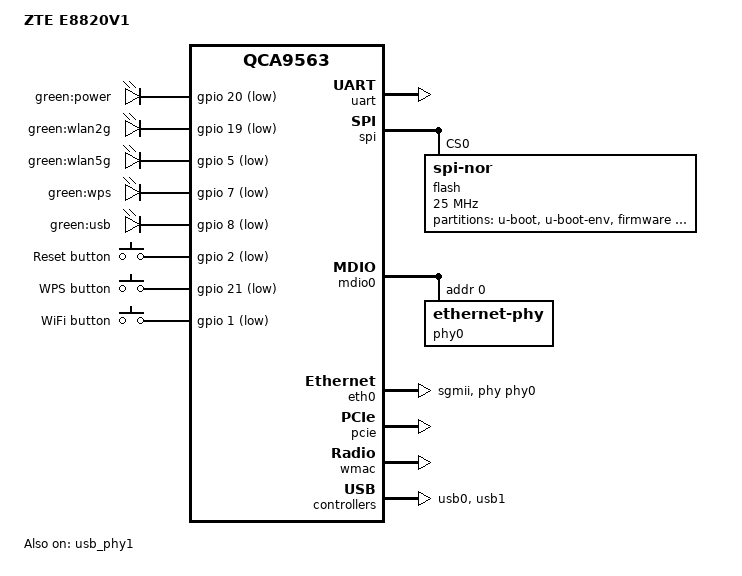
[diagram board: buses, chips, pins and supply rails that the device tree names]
// SPDX-License-Identifier: GPL-2.0-or-later OR MIT
/dts-v1/;

#include <dt-bindings/gpio/gpio.h>
#include <dt-bindings/input/input.h>

#include "qca956x.dtsi"

/ {
	model = "ZTE E8820V1";
	compatible = "zte,e8820v1", "qca,qca9563";

	aliases {
		led-boot = &power;
		led-failsafe = &power;
		led-running = &power;
		led-upgrade = &power;
	};

	leds {
		compatible = "gpio-leds";

		power: power {
			label = "green:power";
			gpios = <&gpio 20 GPIO_ACTIVE_LOW>;
			default-state = "on";
		};

		wlan2g {
			label = "green:wlan2g";
			gpios = <&gpio 19 GPIO_ACTIVE_LOW>;
			linux,default-trigger = "phy1tpt";
		};
		
		wlan5g {
			label = "green:wlan5g";
			gpios = <&gpio 5 GPIO_ACTIVE_LOW>;
			linux,default-trigger = "phy0tpt";
		};
		
		wps {
			label = "green:wps";
			gpios = <&gpio 7 GPIO_ACTIVE_LOW>;
		};
		
		usb {
			label = "green:usb";
			gpios = <&gpio 8 GPIO_ACTIVE_LOW>;
			trigger-sources = <&hub_port0>,<&hub_port1>;
			linux,default-trigger = "usbport";
		};
	};

	keys {
		compatible = "gpio-keys";

		reset {
			label = "Reset button";
			linux,code = <KEY_RESTART>;
			gpios = <&gpio 2 GPIO_ACTIVE_LOW>;
			debounce-interval = <60>;
		};
		
		wps {
			label = "WPS button";
			linux,code = <KEY_WPS_BUTTON>;
			gpios = <&gpio 21 GPIO_ACTIVE_LOW>;
			debounce-interval = <60>;
		};
		
		wifi_button {
			label = "WiFi button";
			linux,code = <KEY_RFKILL>;
			gpios = <&gpio 1 GPIO_ACTIVE_LOW>;
			debounce-interval = <60>;
		};
	};
};

&uart {
	status = "okay";
};

&gpio {
	status = "okay";
};

&spi {
	status = "okay";
	num-cs = <1>;

	flash@0 {
		compatible = "jedec,spi-nor";
		reg = <0>;
		spi-max-frequency = <25000000>;

		partitions {
			compatible = "fixed-partitions";
			#address-cells = <1>;
			#size-cells = <1>;

			partition@0 {
				label = "u-boot";
				reg = <0x000000 0x040000>;
				read-only;
			};

			partition@40000 {
				label = "u-boot-env";
				reg = <0x040000 0x010000>;
				read-only;
			};

			partition@50000 {
				compatible = "denx,uimage";
				label = "firmware";
				reg = <0x050000 0xfa0000>;
			};

			art: partition@ff0000 {
				label = "art";
				reg = <0xff0000 0x010000>;
				read-only;
			};
		};
	};
};

&mdio0 {
	status = "okay";
	phy-mask = <0>;
	phy0: ethernet-phy@0 {
		reg = <0>;
		phy-mode = "sgmii";

		qca,ar8327-initvals = <
			0x04 0x00080080 /* PORT0 PAD MODE CTRL */
			0x7c 0x0000007e /* PORT0_STATUS */
		>;
	};
};

&eth0 {
	status = "okay";

	pll-data = <0x03000101 0x00000101 0x00001919>;
	phy-mode = "sgmii";
	phy-handle = <&phy0>;
	mtd-mac-address = <&art 0x0>;
};

&pcie {
	status = "okay";
};

&wmac {
	status = "okay";
	
	mtd-cal-data = <&art 0x1000>;
	mtd-mac-address = <&art 0x1002>;
};

&usb0 {
	#address-cells = <1>;
	#size-cells = <0>;
	status = "okay";

	hub_port0: port@1 {
		reg = <1>;
		#trigger-source-cells = <0>;
	};
};

&usb_phy1 {
	status = "okay";
};

&usb1 {
	#address-cells = <1>;
	#size-cells = <0>;
	status = "okay";

	hub_port1: port@1 {
		reg = <1>;
		#trigger-source-cells = <0>;
	};
};

